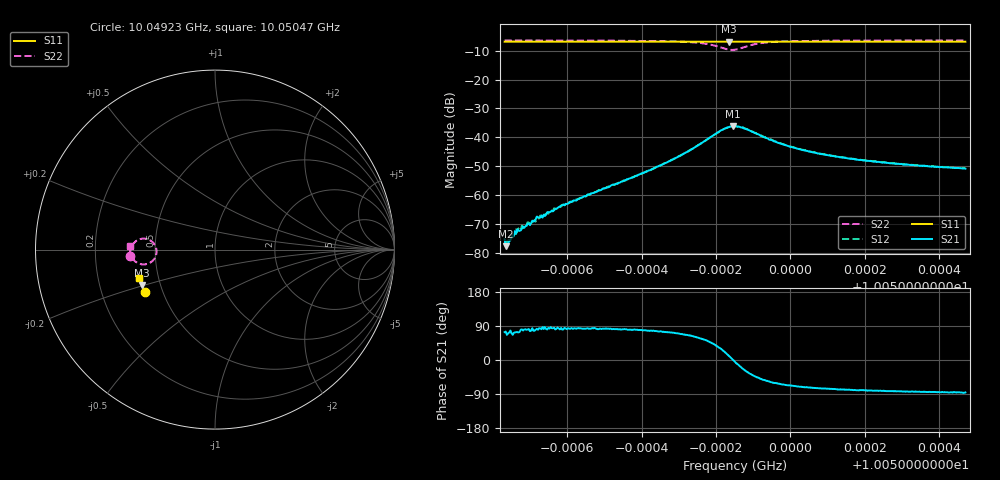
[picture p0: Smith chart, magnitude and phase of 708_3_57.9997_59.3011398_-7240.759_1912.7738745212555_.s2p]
#  HZ  S  RI  R  50.00
! Rohde & Schwarz Vector Network Analyzer
! Rohde-Schwarz,ZNB20-2Port,1311601062101988,3.16
! Created: UTC 3/21/2024, 1:22:04 AM
! freq[Hz]  re:S11  im:S11  re:S21  im:S21  re:S12  im:S12  re:S22  im:S22
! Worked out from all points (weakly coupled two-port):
!   401 points, 10.04923 GHz to 10.05047 GHz, reference 50 ohm
!   highest |S21| = -36.19 dB at 10.04984 GHz (marker M1); lowest = -77.7 dB at 10.04924 GHz (marker M2)
!   lowest |S11| = -6.9 dB at 10.04984 GHz (marker M3), VSWR 2.65, Z = 19.8 - j9.85 ohm
!   |S11| at or under -10 dB: nowhere
!   |S22| runs from -9.7 to -6.5 dB; largest |S21 - S12| = 0.0014
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1.0049232e10  -0.3892 -0.2345  4.86e-05 0.000165  5.43e-05 0.000145  -0.4737 -0.0335
1.0049235e10  -0.3893 -0.2344  3.35e-05 0.000125  2.73e-05 0.000146  -0.4737 -0.0332
1.0049242e10  -0.3895 -0.2339  4.93e-05 0.000138  5.17e-05 0.000157  -0.4738 -0.0328
1.0049263e10  -0.3902 -0.2327  6.05e-05 0.000203  6.04e-05 0.000247  -0.4738 -0.0308
1.0049269e10  -0.3904 -0.2323  7.22e-05 0.00023  2.26e-05 0.000263  -0.4737 -0.0301
1.0049325e10  -0.3921 -0.2291  4.43e-05 0.000403  2.48e-05 0.000401  -0.4737 -0.025
1.0049372e10  -0.3936 -0.2264  7.45e-05 0.000569  3.8e-05 0.000578  -0.4734 -0.0202
1.004944e10  -0.3957 -0.2223  0.000106 0.000893  6.58e-05 0.000897  -0.4728 -0.0127
1.0049647e10  -0.402 -0.2099  0.000799 0.00309  0.000628 0.00312  -0.4629 0.0207
1.0049712e10  -0.4036 -0.2059  0.00195 0.00473  0.00161 0.00485  -0.4494 0.0396
1.0049761e10  -0.4049 -0.2027  0.00444 0.00657  0.004 0.00681  -0.4227 0.0569
1.0049805e10  -0.4055 -0.2001  0.00994 0.00699  0.00931 0.00754  -0.3699 0.0558
1.0049836e10  -0.4055 -0.1985  0.0148 0.00272  0.0145 0.00382  -0.3284 0.0097
1.0049845e10  -0.4059 -0.1982  0.0155 0.000202  0.0153 0.00154  -0.3254 -0.0123
1.0049851e10  -0.4058 -0.198  0.0154 -0.00134  0.0154 -5.92e-05  -0.3274 -0.0273
1.0049885e10  -0.407 -0.1968  0.0115 -0.00718  0.0121 -0.00645  -0.3733 -0.0785
1.0049928e10  -0.4089 -0.1943  0.00614 -0.00801  0.00674 -0.00761  -0.4265 -0.077
1.0049993e10  -0.4111 -0.1904  0.0028 -0.00648  0.00322 -0.00633  -0.4569 -0.0531
1.0050058e10  -0.4128 -0.1863  0.00159 -0.00528  0.00188 -0.00523  -0.4669 -0.035
1.0050154e10  -0.4151 -0.1805  0.000851 -0.00422  0.00111 -0.00424  -0.4722 -0.0174
1.0050266e10  -0.4181 -0.1736  0.000494 -0.00354  0.000709 -0.00351  -0.4743 -0.0029
1.005047e10  -0.4227 -0.161  0.000222 -0.00284  0.000355 -0.00287  -0.475 0.0173
